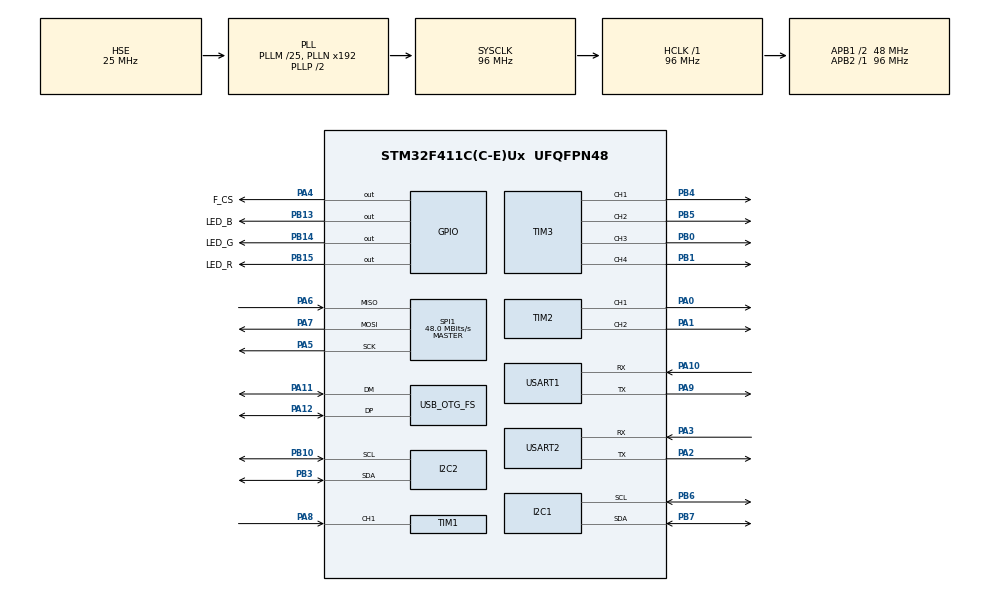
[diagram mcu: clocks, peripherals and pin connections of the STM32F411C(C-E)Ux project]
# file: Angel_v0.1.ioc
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FREERTOS.Tasks01=USBTask,2,128,USBTask_Run,Default,NULL,Dynamic,NULL,NULL
FREERTOS.configCHECK_FOR_STACK_OVERFLOW=1
FREERTOS.configENABLE_FPU=1
FREERTOS.configUSE_NEWLIB_REENTRANT=1
FREERTOS.configUSE_TIMERS=1
FREERTOS.configUSE_TRACE_FACILITY=1
Mcu.Family=STM32F4
Mcu.Name=STM32F411C(C-E)Ux
Mcu.Package=UFQFPN48
NVIC.OTG_FS_IRQn=true\:5\:0\:false\:false\:true\:true\:false\:true\:true
NVIC.PriorityGroup=NVIC_PRIORITYGROUP_4
NVIC.TIM1_TRG_COM_TIM11_IRQn=true\:15\:0\:false\:false\:true\:false\:false\:true\:true
NVIC.TIM1_UP_TIM10_IRQn=true\:15\:0\:false\:false\:true\:false\:false\:true\:true
NVIC.TimeBase=TIM1_TRG_COM_TIM11_IRQn
NVIC.TimeBaseIP=TIM11
PA0-WKUP.Signal=S_TIM2_CH1_ETR
PA1.Signal=S_TIM2_CH2
PA10.Mode=Asynchronous
PA10.Signal=USART1_RX
PA11.Mode=Device_Only
PA11.Signal=USB_OTG_FS_DM
PA12.Mode=Device_Only
PA12.Signal=USB_OTG_FS_DP
PA2.Mode=Asynchronous
PA2.Signal=USART2_TX
PA3.Mode=Asynchronous
PA3.Signal=USART2_RX
PA4.GPIO_Label=F_CS
PA4.Signal=GPIO_Output
PA5.Mode=Full_Duplex_Master
PA5.Signal=SPI1_SCK
PA6.Mode=Full_Duplex_Master
PA6.Signal=SPI1_MISO
PA7.Mode=Full_Duplex_Master
PA7.Signal=SPI1_MOSI
PA8.Signal=S_TIM1_CH1
PA9.Mode=Asynchronous
PA9.Signal=USART1_TX
PB0.Signal=S_TIM3_CH3
PB1.Signal=S_TIM3_CH4
PB10.Mode=I2C
PB10.Signal=I2C2_SCL
PB13.GPIO_Label=LED_B
PB13.Signal=GPIO_Output
PB14.GPIO_Label=LED_G
PB14.Signal=GPIO_Output
PB15.GPIO_Label=LED_R
PB15.Signal=GPIO_Output
PB3.Mode=I2C
PB3.Signal=I2C2_SDA
PB4.Signal=S_TIM3_CH1
PB5.Signal=S_TIM3_CH2
PB6.Mode=I2C
PB6.Signal=I2C1_SCL
PB7.Mode=I2C
PB7.Signal=I2C1_SDA
PH0\ -\ OSC_IN.Mode=HSE-External-Oscillator
PH0\ -\ OSC_IN.Signal=RCC_OSC_IN
PH1\ -\ OSC_OUT.Mode=HSE-External-Oscillator
PH1\ -\ OSC_OUT.Signal=RCC_OSC_OUT
ProjectManager.HeapSize=0x200
ProjectManager.StackSize=0x400
ProjectManager.TargetToolchain=Makefile
RCC.48MHZClocksFreq_Value=48000000
RCC.AHBFreq_Value=96000000
RCC.APB1CLKDivider=RCC_HCLK_DIV2
RCC.APB1Freq_Value=48000000
RCC.APB1TimFreq_Value=96000000
RCC.APB2Freq_Value=96000000
RCC.APB2TimFreq_Value=96000000
RCC.CortexFreq_Value=96000000
RCC.HCLKFreq_Value=96000000
RCC.HSE_VALUE=25000000
RCC.HSI_VALUE=16000000
RCC.LSE_VALUE=32768
RCC.PLLM=25
RCC.SYSCLKFreq_VALUE=96000000
RCC.SYSCLKSource=RCC_SYSCLKSOURCE_PLLCLK
RCC.VCOOutputFreq_Value=192000000
SH.S_TIM1_CH1.0=TIM1_CH1,PWM_Input_1
SH.S_TIM2_CH1_ETR.0=TIM2_CH1,PWM Generation1 CH1
SH.S_TIM2_CH2.0=TIM2_CH2,PWM Generation2 CH2
SH.S_TIM3_CH1.0=TIM3_CH1,PWM Generation1 CH1
SH.S_TIM3_CH2.0=TIM3_CH2,PWM Generation2 CH2
SH.S_TIM3_CH3.0=TIM3_CH3,PWM Generation3 CH3
SH.S_TIM3_CH4.0=TIM3_CH4,PWM Generation4 CH4
SPI1.CalculateBaudRate=48.0 MBits/s
SPI1.Direction=SPI_DIRECTION_2LINES
SPI1.Mode=SPI_MODE_MASTER
SPI1.VirtualType=VM_MASTER
TIM2.Channel-PWM\ Generation1\ CH1=TIM_CHANNEL_1
TIM2.Channel-PWM\ Generation2\ CH2=TIM_CHANNEL_2
TIM3.Channel-PWM\ Generation1\ CH1=TIM_CHANNEL_1
TIM3.Channel-PWM\ Generation2\ CH2=TIM_CHANNEL_2
TIM3.Channel-PWM\ Generation3\ CH3=TIM_CHANNEL_3
TIM3.Channel-PWM\ Generation4\ CH4=TIM_CHANNEL_4
USART1.VirtualMode=VM_ASYNC
USART2.VirtualMode=VM_ASYNC
USB_DEVICE.CLASS_NAME_FS=CDC
USB_DEVICE.PRODUCT_STRING_CDC_FS=Angel v0.1
USB_DEVICE.VirtualMode=Cdc
USB_DEVICE.VirtualModeFS=Cdc_FS
USB_OTG_FS.VirtualMode=Device_Only
VP_FREERTOS_VS_CMSIS_V1.Mode=CMSIS_V1
VP_SYS_VS_tim11.Mode=TIM11
VP_TIM1_VS_ClockSourceINT.Mode=Internal
VP_TIM2_VS_ClockSourceINT.Mode=Internal
VP_TIM3_VS_ClockSourceINT.Mode=Internal
VP_USB_DEVICE_VS_USB_DEVICE_CDC_FS.Mode=CDC_FS
board=custom

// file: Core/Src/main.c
/* USER CODE BEGIN Header */
/**
  ******************************************************************************
  * @file           : main.c
  * @brief          : Main program body
  ******************************************************************************
  * @attention
  *
  * Copyright (c) 2025 STMicroelectronics.
  * All rights reserved.
  *
  * This software is licensed under terms that can be found in the LICENSE file
  * in the root directory of this software component.
  * If no LICENSE file comes with this software, it is provided AS-IS.
  *
  ******************************************************************************
  */
/* USER CODE END Header */
#include "main.h"
#include "cmsis_os.h"
#include "i2c.h"
#include "spi.h"
#include "tim.h"
#include "usart.h"
#include "usb_device.h"
#include "gpio.h"

void SystemClock_Config(void);
void MX_FREERTOS_Init(void);

int main(void)
{

  /* MCU Configuration--------------------------------------------------------*/

  /* Reset of all peripherals, Initializes the Flash interface and the Systick. */
  HAL_Init();

  /* Configure the system clock */
  SystemClock_Config();

  /* Initialize all configured peripherals */
  MX_GPIO_Init();
  MX_I2C1_Init();
  MX_I2C2_Init();
  MX_USART1_UART_Init();
  MX_USART2_UART_Init();
  MX_SPI1_Init();
  MX_TIM1_Init();
  MX_TIM2_Init();
  MX_TIM3_Init();

  /* Call init function for freertos objects (in cmsis_os2.c) */
  MX_FREERTOS_Init();

  /* Start scheduler */
  osKernelStart();

  /* We should never get here as control is now taken by the scheduler */

  /* Infinite loop */
  while (1)
  {

  }
}

void SystemClock_Config(void)
{
  RCC_OscInitTypeDef RCC_OscInitStruct = {0};
  RCC_ClkInitTypeDef RCC_ClkInitStruct = {0};

  /** Configure the main internal regulator output voltage
  */
  __HAL_RCC_PWR_CLK_ENABLE();
  __HAL_PWR_VOLTAGESCALING_CONFIG(PWR_REGULATOR_VOLTAGE_SCALE1);

  /** Initializes the RCC Oscillators according to the specified parameters
  * in the RCC_OscInitTypeDef structure.
  */
  RCC_OscInitStruct.OscillatorType = RCC_OSCILLATORTYPE_HSE;
  RCC_OscInitStruct.HSEState = RCC_HSE_ON;
  RCC_OscInitStruct.PLL.PLLState = RCC_PLL_ON;
  RCC_OscInitStruct.PLL.PLLSource = RCC_PLLSOURCE_HSE;
  RCC_OscInitStruct.PLL.PLLM = 25;
  RCC_OscInitStruct.PLL.PLLN = 192;
  RCC_OscInitStruct.PLL.PLLP = RCC_PLLP_DIV2;
  RCC_OscInitStruct.PLL.PLLQ = 4;
  if (HAL_RCC_OscConfig(&RCC_OscInitStruct) != HAL_OK)
  {
    Error_Handler();
  }

  /** Initializes the CPU, AHB and APB buses clocks
  */
  RCC_ClkInitStruct.ClockType = RCC_CLOCKTYPE_HCLK|RCC_CLOCKTYPE_SYSCLK
                              |RCC_CLOCKTYPE_PCLK1|RCC_CLOCKTYPE_PCLK2;
  RCC_ClkInitStruct.SYSCLKSource = RCC_SYSCLKSOURCE_PLLCLK;
  RCC_ClkInitStruct.AHBCLKDivider = RCC_SYSCLK_DIV1;
  RCC_ClkInitStruct.APB1CLKDivider = RCC_HCLK_DIV2;
  RCC_ClkInitStruct.APB2CLKDivider = RCC_HCLK_DIV1;

  if (HAL_RCC_ClockConfig(&RCC_ClkInitStruct, FLASH_LATENCY_3) != HAL_OK)
  {
    Error_Handler();
  }
}

void HAL_TIM_PeriodElapsedCallback(TIM_HandleTypeDef *htim)
{
  if (htim->Instance == TIM11) {
    HAL_IncTick();
  }
}

void Error_Handler(void)
{
  __disable_irq();
  while (1)
  {
  }
}

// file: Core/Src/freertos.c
/* USER CODE BEGIN Header */
/**
  ******************************************************************************
  * File Name          : freertos.c
  * Description        : Code for freertos applications
  ******************************************************************************
  * @attention
  *
  * Copyright (c) 2025 STMicroelectronics.
  * All rights reserved.
  *
  * This software is licensed under terms that can be found in the LICENSE file
  * in the root directory of this software component.
  * If no LICENSE file comes with this software, it is provided AS-IS.
  *
  ******************************************************************************
  */
/* USER CODE END Header */

#include "FreeRTOS.h"
#include "task.h"
#include "main.h"
#include "cmsis_os.h"

/* USER CODE BEGIN Includes */
#include "SensorTask.h"
#include "strings.h"
#include <stdio.h>
#include <stdlib.h>
#include "usbd_cdc_if.h"
#include "minimal/mavlink.h"
#include "common/mavlink.h"
#include "common/common.h"

/* USER CODE END Includes */

/* USER CODE BEGIN Variables */
uint8_t buf[MAVLINK_MAX_PACKET_LEN];
mavlink_message_t heart_beat;
mavlink_message_t attitude_msg;
mavlink_message_t altitude_msg;
uint16_t len;

/* USER CODE END Variables */
osThreadId USBTaskHandle;

void USBTask_Run(void const * argument);

extern void MX_USB_DEVICE_Init(void);
void MX_FREERTOS_Init(void); /* (MISRA C 2004 rule 8.1) */

/* GetIdleTaskMemory prototype (linked to static allocation support) */
void vApplicationGetIdleTaskMemory( StaticTask_t **ppxIdleTaskTCBBuffer, StackType_t **ppxIdleTaskStackBuffer, uint32_t *pulIdleTaskStackSize );

/* GetTimerTaskMemory prototype (linked to static allocation support) */
void vApplicationGetTimerTaskMemory( StaticTask_t **ppxTimerTaskTCBBuffer, StackType_t **ppxTimerTaskStackBuffer, uint32_t *pulTimerTaskStackSize );

/* Hook prototypes */
void vApplicationStackOverflowHook(xTaskHandle xTask, signed char *pcTaskName);

/* USER CODE BEGIN 4 */
__weak void vApplicationStackOverflowHook(xTaskHandle xTask, signed char *pcTaskName)
{
   /* Run time stack overflow checking is performed if
   configCHECK_FOR_STACK_OVERFLOW is defined to 1 or 2. This hook function is
   called if a stack overflow is detected. */
}
/* USER CODE END 4 */

/* USER CODE BEGIN GET_IDLE_TASK_MEMORY */
static StaticTask_t xIdleTaskTCBBuffer;
static StackType_t xIdleStack[configMINIMAL_STACK_SIZE];

void vApplicationGetIdleTaskMemory( StaticTask_t **ppxIdleTaskTCBBuffer, StackType_t **ppxIdleTaskStackBuffer, uint32_t *pulIdleTaskStackSize )
{
  *ppxIdleTaskTCBBuffer = &xIdleTaskTCBBuffer;
  *ppxIdleTaskStackBuffer = &xIdleStack[0];
  *pulIdleTaskStackSize = configMINIMAL_STACK_SIZE;
  /* place for user code */
}
/* USER CODE END GET_IDLE_TASK_MEMORY */

/* USER CODE BEGIN GET_TIMER_TASK_MEMORY */
static StaticTask_t xTimerTaskTCBBuffer;
static StackType_t xTimerStack[configTIMER_TASK_STACK_DEPTH];

void vApplicationGetTimerTaskMemory( StaticTask_t **ppxTimerTaskTCBBuffer, StackType_t **ppxTimerTaskStackBuffer, uint32_t *pulTimerTaskStackSize )
{
  *ppxTimerTaskTCBBuffer = &xTimerTaskTCBBuffer;
  *ppxTimerTaskStackBuffer = &xTimerStack[0];
  *pulTimerTaskStackSize = configTIMER_TASK_STACK_DEPTH;
  /* place for user code */
}
/* USER CODE END GET_TIMER_TASK_MEMORY */

void MX_FREERTOS_Init(void) {

  /* Create the thread(s) */
  /* definition and creation of USBTask */
  osThreadDef(USBTask, USBTask_Run, osPriorityHigh, 0, 512);
  USBTaskHandle = osThreadCreate(osThread(USBTask), NULL);

  /* USER CODE BEGIN RTOS_THREADS */
  SensorTask_Init();

  /* add threads, ... */
  /* USER CODE END RTOS_THREADS */

}

void USBTask_Run(void const * argument)
{
  /* init code for USB_DEVICE */
  MX_USB_DEVICE_Init();
  /* USER CODE BEGIN USBTask_Run */
  IMU_Data_t imu;
  Barometer_Data_t baro;
  Attitude_Data_t attitude;
  uint32_t last_ms_heart_beat = HAL_GetTick();
  uint32_t last_ms_attitude = HAL_GetTick();
  uint32_t last_ms_altitude = HAL_GetTick();

  /* Infinite loop */
  for(;;)
  {
    SensorTask_GetIMU(&imu);
    SensorTask_GetBaro(&baro);
    SensorTask_GetAttitude(&attitude);

    char buffer[128];
    // snprintf(buffer, 128, "[IMU] Gyro(deg/s) >> X:%.2f, Y:%.2f, Z:%.2f | Acc(m/s2) >> X:%.2f, Y:%.2f, Z:%.2f | Baro >> %.2fm, %.2fPa, %.2f\r\n", imu.gyro[0], imu.gyro[1], imu.gyro[2], imu.accel[0], imu.accel[1], imu.accel[2], baro.altitude, baro.pressure, baro.temperature);

    // snprintf(buffer, 128, "[IMU] Pitch: %.2f, Roll: %.2f\r\n[BARO] Altitude: %.2fm, Pressure: %.2fPa\r\n", RAD2DEG(attitude.pitch), RAD2DEG(attitude.roll), baro.altitude, baro.pressure);
    // CDC_Transmit_FS(buffer, strlen(buffer));

    if(HAL_GetTick() - last_ms_heart_beat >= 1000)
    {
      mavlink_msg_heartbeat_pack(1, MAV_COMP_ID_AUTOPILOT1, &heart_beat, MAV_TYPE_SUBMARINE, MAV_AUTOPILOT_ARDUPILOTMEGA, 0, 0, 0);
      len = mavlink_msg_to_send_buffer(buf, &heart_beat);
      CDC_Transmit_FS(buf, len);
      last_ms_heart_beat += 1000;
    }

    if(HAL_GetTick() - last_ms_altitude >= 100)
    {
      mavlink_msg_altitude_pack(1, MAV_COMP_ID_AUTOPILOT1, &altitude_msg, HAL_GetTick() * 1000, baro.altitude, baro.altitude, baro.altitude - LOCAL_ALT, baro.altitude - LOCAL_ALT, baro.altitude - LOCAL_ALT, 0);
      len = mavlink_msg_to_send_buffer(buf, &altitude_msg);
      CDC_Transmit_FS(buf, len);
      last_ms_altitude += 100;
    }

    if(HAL_GetTick() - last_ms_attitude >= 40)
    {
      mavlink_msg_attitude_pack(1, MAV_COMP_ID_AUTOPILOT1, &attitude_msg, HAL_GetTick(), attitude.roll, attitude.pitch, 0, imu.gyro[1], imu.gyro[0], imu.gyro[2]);
      len = mavlink_msg_to_send_buffer(buf, &attitude_msg);
      CDC_Transmit_FS(buf, len);
      last_ms_attitude += 10;
    }

    osDelay(4); // 500Hz
    // vTaskDelay(pdMS_TO_TICKS(2.5));

  }
  /* USER CODE END USBTask_Run */
}
